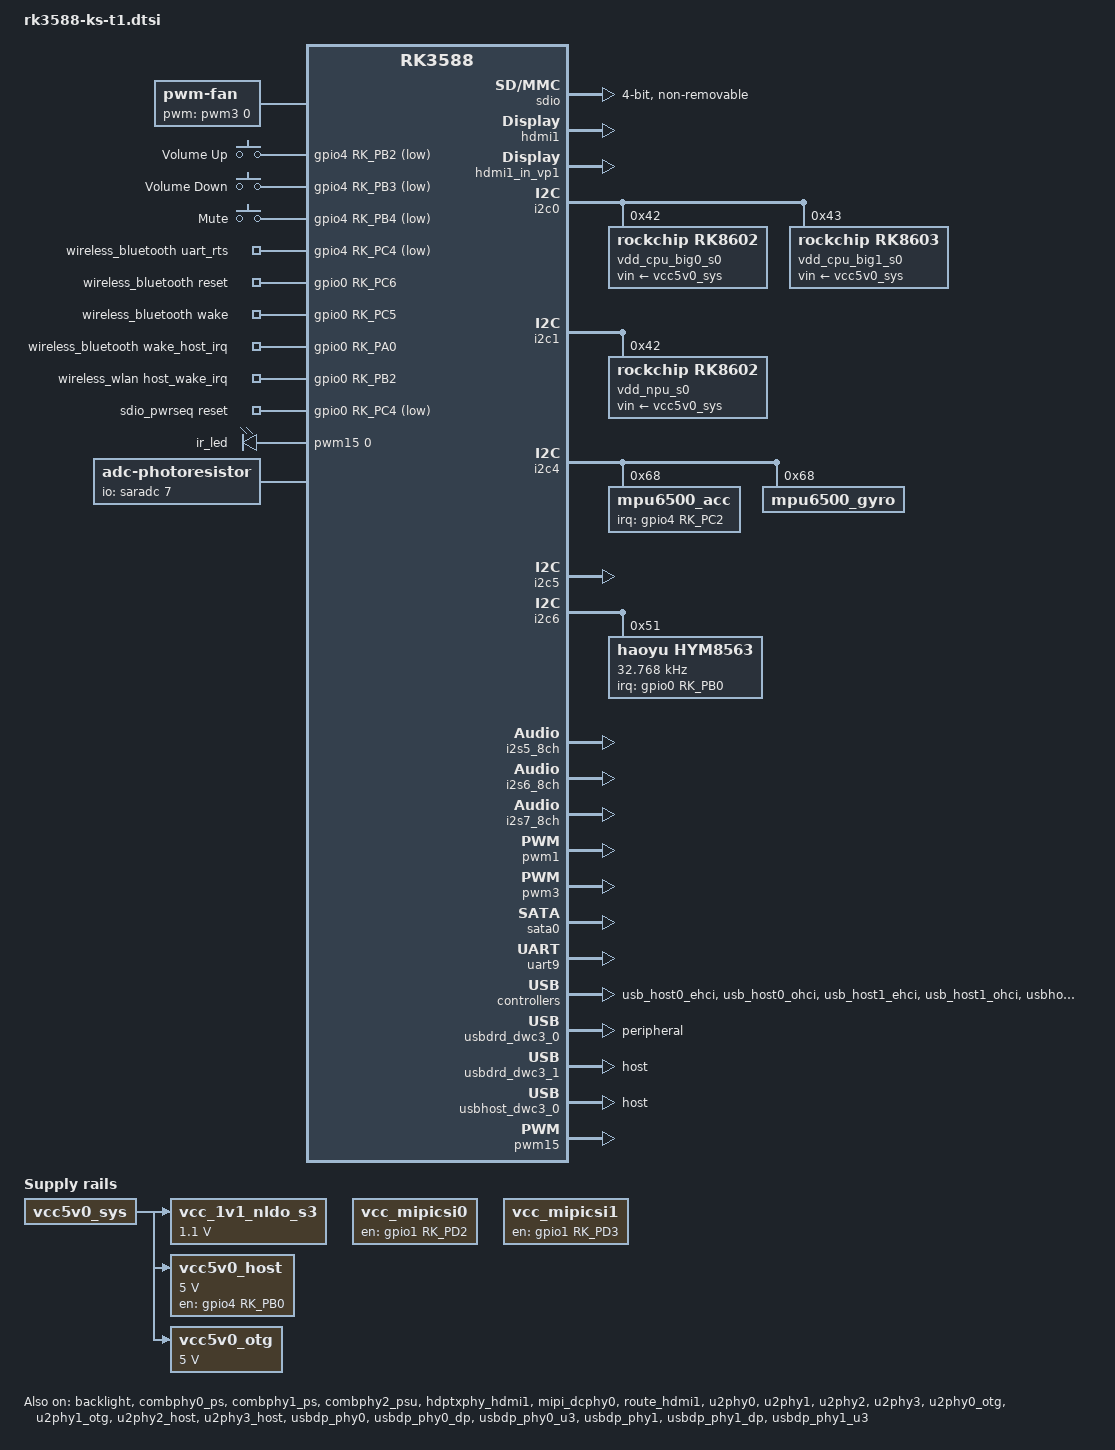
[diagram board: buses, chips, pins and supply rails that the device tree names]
// SPDX-License-Identifier: (GPL-2.0+ OR MIT)
/*
 * Copyright (c) 2021 Rockchip Electronics Co., Ltd.
 *
 */

#include "dt-bindings/usb/pd.h"
#include "rk3588.dtsi"
#include "rk3588-evb.dtsi"
#include "rk3588-rk806-single.dtsi"

/ {
	/* If hdmirx node is disabled, delete the reserved-memory node here. */
	reserved-memory {
		#address-cells = <2>;
		#size-cells = <2>;
		ranges;

		/* Reserve 256MB memory for hdmirx-controller@fdee0000 */
		cma {
			compatible = "shared-dma-pool";
			reusable;
			reg = <0x0 (256 * 0x100000) 0x0 (256 * 0x100000)>;
			linux,cma-default;
		};
	};

	fan: pwm-fan {
		compatible = "pwm-fan";
		#cooling-cells = <2>;
		pwms = <&pwm3 0 50000 0>;
	};
/*
	pcie20_avdd0v85: pcie20-avdd0v85 {
		compatible = "regulator-fixed";
		regulator-name = "pcie20_avdd0v85";
		regulator-boot-on;
		regulator-always-on;
		regulator-min-microvolt = <850000>;
		regulator-max-microvolt = <850000>;
		vin-supply = <&vdd_0v85_s0>;
	};

	pcie20_avdd1v8: pcie20-avdd1v8 {
		compatible = "regulator-fixed";
		regulator-name = "pcie20_avdd1v8";
		regulator-boot-on;
		regulator-always-on;
		regulator-min-microvolt = <1800000>;
		regulator-max-microvolt = <1800000>;
		vin-supply = <&avcc_1v8_s0>;
	};

	pcie30_avdd0v75: pcie30-avdd0v75 {
		compatible = "regulator-fixed";
		regulator-name = "pcie30_avdd0v75";
		regulator-boot-on;
		regulator-always-on;
		regulator-min-microvolt = <750000>;
		regulator-max-microvolt = <750000>;
		vin-supply = <&avdd_0v75_s0>;
	};

	pcie30_avdd1v8: pcie30-avdd1v8 {
		compatible = "regulator-fixed";
		regulator-name = "pcie30_avdd1v8";
		regulator-boot-on;
		regulator-always-on;
		regulator-min-microvolt = <1800000>;
		regulator-max-microvolt = <1800000>;
		vin-supply = <&avcc_1v8_s0>;
	};*/

	vcc_1v1_nldo_s3: vcc-1v1-nldo-s3 {
		compatible = "regulator-fixed";
		regulator-name = "vcc_1v1_nldo_s3";
		regulator-always-on;
		regulator-boot-on;
		regulator-min-microvolt = <1100000>;
		regulator-max-microvolt = <1100000>;
		vin-supply = <&vcc5v0_sys>;
	};

	vcc5v0_host: vcc5v0-host-regulator {
		compatible = "regulator-fixed";
		regulator-name = "vcc5v0_host";
		regulator-boot-on;
		regulator-always-on;
		regulator-min-microvolt = <5000000>;
		regulator-max-microvolt = <5000000>;
		enable-active-high;
		gpio = <&gpio4 RK_PB0 GPIO_ACTIVE_HIGH>;
		vin-supply = <&vcc5v0_sys>;
		pinctrl-names = "default";
		pinctrl-0 = <&vcc5v0_host_en>;
	};

	vcc_mipicsi0: vcc-mipicsi0-regulator {
		compatible = "regulator-fixed";
		gpio = <&gpio1 RK_PD2 GPIO_ACTIVE_HIGH>;
		pinctrl-names = "default";
		pinctrl-0 = <&mipicsi0_pwr>;
		regulator-name = "vcc_mipicsi0";
		enable-active-high;
	};

	vcc_mipicsi1: vcc-mipicsi1-regulator {
		compatible = "regulator-fixed";
		gpio = <&gpio1 RK_PD3 GPIO_ACTIVE_HIGH>;
		pinctrl-names = "default";
		pinctrl-0 = <&mipicsi1_pwr>;
		regulator-name = "vcc_mipicsi1";
		enable-active-high;
	};

	//vcc_mipidcphy0: vcc-mipidcphy0-regulator {
	//	compatible = "regulator-fixed";
	//	gpio = <&gpio2 RK_PC4 GPIO_ACTIVE_HIGH>;
	//	pinctrl-names = "default";
	//	pinctrl-0 = <&mipidcphy0_pwr>;
	//	regulator-name = "vcc_mipidcphy0";
	//	enable-active-high;
	//};


	vcc5v0_otg: vcc5v0-otg-regulator {
		compatible = "regulator-fixed";
		regulator-name = "vcc5v0_otg";
		regulator-min-microvolt = <5000000>;
		regulator-max-microvolt = <5000000>;
		enable-active-high;
//		gpio = <&gpio4 RK_PA7 GPIO_ACTIVE_HIGH>;
		vin-supply = <&vcc5v0_sys>;
		pinctrl-names = "default";
		pinctrl-0 = <&vcc5v0_otg_en>;
	};

    gpio_keys {                                                                                                                            
		compatible = "gpio-keys"; 
		autorepeat;                                                                                                                          
		vol_down {
			gpios = <&gpio4 RK_PB2 GPIO_ACTIVE_LOW>;
			linux,code = <KEY_VOLUMEDOWN>;
			label = "Volume Up";
			debounce-interval = <20>;
		};

        vol_up {
			gpios = <&gpio4 RK_PB3 GPIO_ACTIVE_LOW>;
			linux,code = <KEY_VOLUMEUP>;
			label = "Volume Down";
			debounce-interval = <20>;
		};
        
        mute {
			gpios = <&gpio4 RK_PB4 GPIO_ACTIVE_LOW>;
			linux,code = <KEY_MUTE>;
			label = "Mute";
			debounce-interval = <20>;
		};

		//pwr {
		//	gpios = <&gpio0 RK_PB7 GPIO_ACTIVE_LOW>;
		//	linux,code = <KEY_POWER>;
		//	label = "Power";
		//	debounce-interval = <20>;
		//};                                                                                                                    
    };

    wireless_bluetooth: wireless-bluetooth {
		compatible = "bluetooth-platdata";
		clocks = <&hym8563>;
		clock-names = "ext_clock";
		uart_rts_gpios = <&gpio4 RK_PC4 GPIO_ACTIVE_LOW>;
		pinctrl-names = "default", "rts_gpio";
		pinctrl-0 = <&uart9m0_rtsn>, <&bt_reset_gpio>, <&bt_wake_gpio>, <&bt_irq_gpio>;
		pinctrl-1 = <&uart9_gpios>;
		BT,reset_gpio    = <&gpio0 RK_PC6 GPIO_ACTIVE_HIGH>;
		BT,wake_gpio     = <&gpio0 RK_PC5 GPIO_ACTIVE_HIGH>;
		BT,wake_host_irq = <&gpio0 RK_PA0 GPIO_ACTIVE_HIGH>;
		status = "okay";
	};

	wireless_wlan: wireless-wlan {
		compatible = "wlan-platdata";
		wifi_chip_type = "ap6256";
		pinctrl-names = "default";
		pinctrl-0 = <&wifi_host_wake_irq>;
		WIFI,host_wake_irq = <&gpio0 RK_PB2 GPIO_ACTIVE_HIGH>;
		status = "okay";
	};

	sdio_pwrseq: sdio-pwrseq {
		status = "okay";
		compatible = "mmc-pwrseq-simple";
		//clocks = <&hym8563>;
		//clock-names = "ext_clock";
		pinctrl-names = "default";
		pinctrl-0 = <&wifi_enable_h>;
		/*
		 * On the module itself this is one of these (depending
		 * on the actual card populated):
		 * - SDIO_RESET_L_WL_REG_ON
		 * - PDN (power down when low)
		 */
		post-power-on-delay-ms = <200>;
		reset-gpios = <&gpio0 RK_PC4 GPIO_ACTIVE_LOW>;
	};

	pwm_leds {
		status = "okay";
		compatible = "pwm-leds";
		front {
			label = "ir_led";
			max-brightness = <255>;
			pwms = <&pwm15 0 25000 0>;
		};
	};

	photoresistor {
		status = "okay";
		compatible = "adc-photoresistor";
		io-channels = <&saradc 7>;
	};
	
	upcm {
		status = "okay";
		compatible = "minrray,upcm";
	};

};

&sdio {
	max-frequency = <150000000>;
	no-sd;
	no-mmc;
	bus-width = <4>;
	disable-wp;
	cap-sd-highspeed;
	cap-sdio-irq;
	keep-power-in-suspend;
	mmc-pwrseq = <&sdio_pwrseq>;
	non-removable;
	pinctrl-names = "default";
	pinctrl-0 = <&sdiom0_pins>;
	sd-uhs-sdr104;
	status = "okay";
};

&rk806single {
	pinctrl-names = "default", "pmic-power-off";
	pinctrl-0 = <&pmic_pins>, <&rk806_dvs1_null>, <&rk806_dvs2_null>, <&rk806_dvs3_null>;
	pinctrl-1 = <&rk806_dvs1_slp>, <&rk806_dvs2_null>, <&rk806_dvs3_null>;

	regulators {
		avcc_1v8_s0: PLDO_REG1 {
			regulator-always-on;
			regulator-boot-on;
			regulator-min-microvolt = <1800000>;
			regulator-max-microvolt = <1800000>;
			regulator-name = "avcc_1v8_s0";
			regulator-state-mem {
				regulator-on-in-suspend;
				regulator-suspend-microvolt = <1800000>;
			};
		};
	};
};

&backlight {
	pwms = <&pwm1 0 25000 0>;
	status = "okay";
};

&combphy0_ps {
	status = "okay";
};

&combphy1_ps {
	status = "okay";
};

&combphy2_psu {
	status = "okay";
};

&dp1 {
	pinctrl-names = "default";
	pinctrl-0 = <&dp1m0_pins>;
	status = "disabled";
};

&dp1_in_vp2 {
	status = "disabled";
};


&hdmi1 {
	enable-gpios = <&gpio4 RK_PB7 GPIO_ACTIVE_HIGH>;
	status = "okay";
};

&hdmi1_in_vp1 {
	status = "okay";
};

&hdmi1_sound {
	status = "disabled";
};

/* Should work with at least 128MB cma reserved above. */
&hdmirx_ctrler {
	status = "disabled";

	/* Effective level used to trigger HPD: 0-low, 1-high */
	hpd-trigger-level = <1>;
	hdmirx-det-gpios = <&gpio1 RK_PD5 GPIO_ACTIVE_LOW>;
};


&hdptxphy_hdmi1 {
	status = "okay";
};

&i2c0 {
	status = "okay";
	pinctrl-names = "default";
	pinctrl-0 = <&i2c0m2_xfer>;

	vdd_cpu_big0_s0: vdd_cpu_big0_mem_s0: rk8602@42 {
		compatible = "rockchip,rk8602";
		reg = <0x42>;
		vin-supply = <&vcc5v0_sys>;
		regulator-compatible = "rk860x-reg";
		regulator-name = "vdd_cpu_big0_s0";
		regulator-min-microvolt = <550000>;
		regulator-max-microvolt = <1050000>;
		regulator-ramp-delay = <2300>;
		rockchip,suspend-voltage-selector = <1>;
		regulator-boot-on;
		regulator-always-on;
		regulator-state-mem {
			regulator-off-in-suspend;
		};
	};

	vdd_cpu_big1_s0: vdd_cpu_big1_mem_s0: rk8603@43 {
		compatible = "rockchip,rk8603";
		reg = <0x43>;
		vin-supply = <&vcc5v0_sys>;
		regulator-compatible = "rk860x-reg";
		regulator-name = "vdd_cpu_big1_s0";
		regulator-min-microvolt = <550000>;
		regulator-max-microvolt = <1050000>;
		regulator-ramp-delay = <2300>;
		rockchip,suspend-voltage-selector = <1>;
		regulator-boot-on;
		regulator-always-on;
		regulator-state-mem {
			regulator-off-in-suspend;
		};
	};
};

&i2c1 {
	status = "okay";
	pinctrl-names = "default";
	pinctrl-0 = <&i2c1m2_xfer>;

	vdd_npu_s0: vdd_npu_mem_s0: rk8602@42 {
		compatible = "rockchip,rk8602";
		reg = <0x42>;
		vin-supply = <&vcc5v0_sys>;
		regulator-compatible = "rk860x-reg";
		regulator-name = "vdd_npu_s0";
		regulator-min-microvolt = <550000>;
		regulator-max-microvolt = <950000>;
		regulator-ramp-delay = <2300>;
		rockchip,suspend-voltage-selector = <1>;
		regulator-boot-on;
		regulator-always-on;
		regulator-state-mem {
			regulator-off-in-suspend;
		};
	};
};

&i2c4 {
	status = "okay";
	pinctrl-0 = <&i2c4m1_xfer>;

	ls_stk3332: light@47 {
		compatible = "ls_stk3332";
		status = "disabled";
		reg = <0x47>;
		type = <SENSOR_TYPE_LIGHT>;
		irq_enable = <0>;
		als_threshold_high = <100>;
		als_threshold_low = <10>;
		als_ctrl_gain = <2>; /* 0:x1 1:x4 2:x16 3:x64 */
		poll_delay_ms = <100>;
	};

	ps_stk3332: proximity@47 {
		compatible = "ps_stk3332";
		status = "disabled";
		reg = <0x47>;
		type = <SENSOR_TYPE_PROXIMITY>;
		//pinctrl-names = "default";
		//pinctrl-0 = <&gpio3_c6>;
		//irq-gpio = <&gpio3 RK_PC6 IRQ_TYPE_LEVEL_LOW>;
		//irq_enable = <1>;
		ps_threshold_high = <0x200>;
		ps_threshold_low = <0x100>;
		ps_ctrl_gain = <3>; /* 0:x1 1:x2 2:x5 3:x8 */
		ps_led_current = <4>; /* 0:3.125mA 1:6.25mA 2:12.5mA 3:25mA 4:50mA 5:100mA*/
		poll_delay_ms = <100>;
	};

	mpu6500_acc: mpu_acc@68 {
		compatible = "mpu6500_acc";
		reg = <0x68>;
		irq-gpio = <&gpio4 RK_PC2 IRQ_TYPE_EDGE_RISING>;
		irq_enable = <0>;
		poll_delay_ms = <30>;
		type = <SENSOR_TYPE_ACCEL>;
		layout = <5>;
	};

	mpu6500_gyro: mpu_gyro@68 {
		compatible = "mpu6500_gyro";
		reg = <0x68>;
		poll_delay_ms = <30>;
		type = <SENSOR_TYPE_GYROSCOPE>;
		layout = <5>;
	};
};

&i2c5 {
	status = "okay";
};

&i2c6 {
	status = "okay";

	hym8563: hym8563@51 {
		compatible = "haoyu,hym8563";
		reg = <0x51>;
		#clock-cells = <0>;
		clock-frequency = <32768>;
		clock-output-names = "hym8563";
		pinctrl-names = "default";
		pinctrl-0 = <&hym8563_int>;
		interrupt-parent = <&gpio0>;
		interrupts = <RK_PB0 IRQ_TYPE_LEVEL_LOW>;
		wakeup-source;
	};
};

&i2s5_8ch {
	status = "okay";
};

&i2s6_8ch {
	status = "okay";
};

&i2s7_8ch {
	status = "okay";
};


&mipi_dcphy0 {
	status = "okay";
};

&mipi_dcphy1 {
	status = "disabled";
};

&pinctrl {
	cam {
		mipicsi0_pwr: mipicsi0-pwr {
			rockchip,pins =
				/* camera power en */
				<1 RK_PD2 RK_FUNC_GPIO &pcfg_pull_none>;
		};
		mipicsi1_pwr: mipicsi1-pwr {
			rockchip,pins =
				/* camera power en */
				<1 RK_PD3 RK_FUNC_GPIO &pcfg_pull_none>;
		};
		//mipidcphy0_pwr: mipidcphy0-pwr {
		//	rockchip,pins =
		//		/* camera power en */
		//		<2 RK_PC4 RK_FUNC_GPIO &pcfg_pull_none>;
		//};
	};

	vga {
		vga_hpdin_l: vga-hpdin-l {
			rockchip,pins = <3 RK_PA6 RK_FUNC_GPIO &pcfg_pull_none>;
		};
	};

	hym8563 {
		hym8563_int: hym8563-int {
			rockchip,pins = <0 RK_PB0 RK_FUNC_GPIO &pcfg_pull_up>;
		};
	};

	usb {

		vcc5v0_host_en: vcc5v0-host-en {
			rockchip,pins = <4 RK_PB0 RK_FUNC_GPIO &pcfg_pull_none>;
		};

		vcc5v0_otg_en: vcc5v0-otg-en {
			rockchip,pins = <4 RK_PA7 RK_FUNC_GPIO &pcfg_pull_none>;
		};
	};

    wireless-bluetooth {
		uart9_gpios: uart9-gpios {
			rockchip,pins = <4 RK_PC4 RK_FUNC_GPIO &pcfg_pull_none>;
		};

		bt_reset_gpio: bt-reset-gpio {
			rockchip,pins = <0 RK_PC6 RK_FUNC_GPIO &pcfg_pull_none>;
		};

		bt_wake_gpio: bt-wake-gpio {
			rockchip,pins = <0 RK_PC5 RK_FUNC_GPIO &pcfg_pull_none>;
		};

		bt_irq_gpio: bt-irq-gpio {
			rockchip,pins = <0 RK_PA0 RK_FUNC_GPIO &pcfg_pull_down>;
		};
	};

	wireless-wlan {
		wifi_host_wake_irq: wifi-host-wake-irq {
			rockchip,pins = <0 RK_PB2 RK_FUNC_GPIO &pcfg_pull_down>;
		};

		//wifi_poweren_gpio: wifi-poweren-gpio {
		//	rockchip,pins = <0 RK_PC4 RK_FUNC_GPIO &pcfg_pull_up>;
		//};
	};

	sdio-pwrseq {
		wifi_enable_h: wifi-enable-h {
		       rockchip,pins = <0 RK_PC4 RK_FUNC_GPIO &pcfg_pull_none>;
	       };
	};

};

&pwm1 {
	status = "okay";
};

&pwm3 {
	pinctrl-0 = <&pwm3m1_pins>;
	status = "okay";
};

&route_dsi0 {
	status = "disabled";
	connect = <&vp3_out_dsi0>;
};

&route_dsi1 {
	status = "disabled";
	connect = <&vp3_out_dsi1>;
};

&route_hdmi1 {
	status = "okay";
};

&sata0 {
	status = "okay";
};

// Uart-to-BT
&uart9 {
	status = "okay";
	pinctrl-names = "default";
	pinctrl-0 = <&uart9m0_xfer &uart9m0_ctsn>;
};

&u2phy0 {
	status = "okay";
};

&u2phy1 {
	status = "okay";
};

&u2phy2 {
	status = "okay";
};

&u2phy3 {
	status = "okay";
};

&u2phy0_otg {
	phy-supply = <&vcc5v0_otg>;
	status = "okay";
};

&u2phy1_otg {
	phy-supply = <&vcc5v0_host>;
	status = "okay";
};

&u2phy2_host {
	phy-supply = <&vcc5v0_host>;
	status = "okay";
};

&u2phy3_host {
	phy-supply = <&vcc5v0_host>;
	status = "okay";
};

&usb_host0_ehci {
	status = "okay";
};

&usb_host0_ohci {
	status = "okay";
};

&usb_host1_ehci {
	status = "okay";
};

&usb_host1_ohci {
	status = "okay";
};

&usbdp_phy0 {
	rockchip,dp-lane-mux = <2 3>;
	status = "okay";
};

&usbdp_phy0_dp {
	status = "okay";
};

&usbdp_phy0_u3 {
	status = "okay";
};

&usbdp_phy1 {
	//rockchip,dp-lane-mux = <3 2 1 0>;
	rockchip,dp-lane-mux = < 0 1 2 3 >;
	status = "okay";
};

&usbdp_phy1_dp {
	status = "okay";
};

&usbdp_phy1_u3 {
	maximum-speed = "high-speed";
	status = "okay";
};

&usbdrd_dwc3_0 {
	//dr_mode = "otg";
	//extcon = <&u2phy0>;
	dr_mode = "peripheral";
	status = "okay";
};

&usbdrd_dwc3_1 {
	dr_mode = "host";
	maximum-speed = "high-speed";
	status = "okay";
};

&usbhost3_0 {
	status = "okay";
};

&usbhost_dwc3_0 {
	dr_mode = "host";
	status = "okay";
};

&pwm15 {
	status = "okay";
	pinctrl-names = "active";
	pinctrl-0 = <&pwm15m2_pins>;
};
